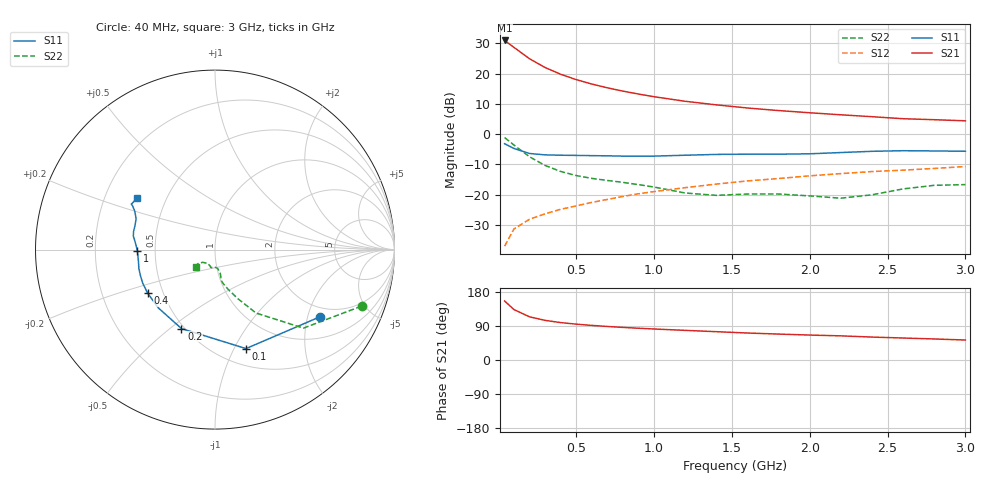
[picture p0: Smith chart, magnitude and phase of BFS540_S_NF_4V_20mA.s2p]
! Filename:  BFS540C.S2P  Version:  4.0
! Philips part #: BFS540  Date: Jun 1994
! Bias condition: Vce=4V, Ic=20mA
#  MHz  S  MA  R  50
! Freq  S11  S21  S12  S22  !GUM [dB]
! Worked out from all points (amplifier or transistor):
!   21 points, 40 MHz to 3 GHz, reference 50 ohm
!   highest |S21| = 31.0 dB at 40 MHz (marker M1)
!   |S21| within 3 dB of that: start of sweep to 119 MHz
!   unconditionally stable (mu >= 1): 720.1 MHz to end of sweep
!   at 300 MHz: K = 0.76, MSG = 24.2 dB, |S12| = -26.4 dB
!   at 1 GHz: K = 1.05, MAG = 14.3 dB, |S12| = -19.0 dB
!   at 3 GHz: K = 1.01, MAG = 7.0 dB, |S12| = -10.7 dB
!   lowest NFmin = 1.25 dB at 500 MHz
!   S11 on the Smith chart (normalised r, x): 40 MHz: 1.65, -2.38; 100 MHz: 0.67, -1.12; 200 MHz: 0.48, -0.55; 400 MHz: 0.41, -0.25; 1 GHz: 0.40, -0.01; 3 GHz: 0.34, +0.27
40  0.693 -32.8  35.37 155.7  0.014 74.2  0.875 -21.1
100  0.578 -72.6  27.19 133.1  0.027 61.3  0.659 -41.6
200  0.478 -113.0  17.62 113.9  0.039 56.2  0.421 -57.1
300  0.453 -134.1  12.63 104.6  0.048 57.5  0.303 -64.9
400  0.447 -147.0  9.759 98.7  0.057 60.1  0.241 -70.8
500  0.444 -154.9  7.96 94.6  0.065 62.0  0.206 -75.0
600  0.44 -161.0  6.724 91.3  0.074 63.7  0.185 -77.6
700  0.437 -166.1  5.824 88.5  0.083 65.3  0.171 -78.6
800  0.432 -170.6  5.137 86.0  0.093 66.6  0.159 -78.2
900  0.431 -175.0  4.595 83.8  0.103 67.4  0.146 -77.6
1000  0.432 -179.1  4.147 81.8  0.112 68.2  0.133 -77.7
1200  0.447 174.5  3.489 78.2  0.13 69.4  0.106 -81.8
1400  0.461 170.7  3.043 74.7  0.149 70.2  0.097 -91.8
1600  0.465 167.5  2.702 71.2  0.168 69.5  0.102 -100.8
1800  0.465 163.5  2.45 68.4  0.184 69.9  0.102 -103.7
2000  0.472 158.6  2.252 65.8  0.204 69.7  0.095 -106.5
2200  0.495 154.5  2.084 63.7  0.222 70.0  0.087 -118.3
2400  0.519 152.1  1.939 60.5  0.24 69.5  0.099 -134.3
2600  0.531 151.5  1.795 58.0  0.253 68.5  0.124 -140.6
2800  0.526 149.8  1.729 55.5  0.27 68.2  0.142 -138.3
3000  0.52 146.2  1.657 52.7  0.291 67.3  0.146 -137.2
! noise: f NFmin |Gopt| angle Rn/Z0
500  1.25  0.104  123  0.14
900  1.5  0.225  153  0.14
2000  2.2  0.487  -160  0.09
